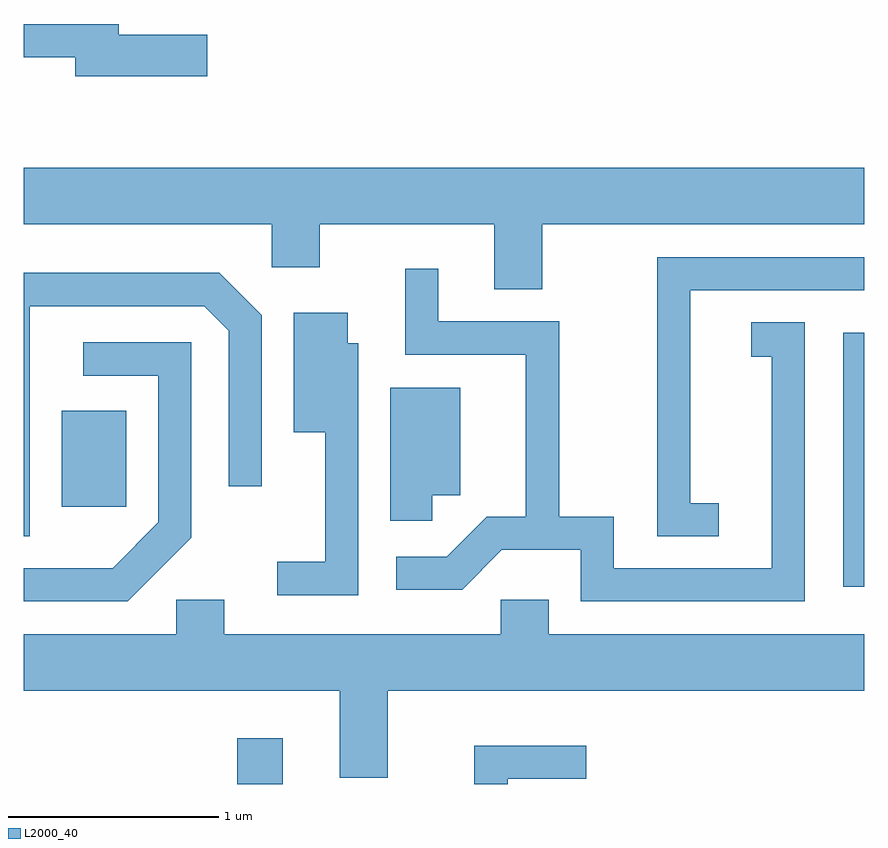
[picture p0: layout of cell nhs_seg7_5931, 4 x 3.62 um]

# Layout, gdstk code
import gdstk
lib = gdstk.Library(unit=1e-6, precision=1e-09)
def R(c, l, rs):  # rectangles x0, y0, x1, y1
    for r in rs: c.add(gdstk.rectangle(r[:2], r[2:], *l))
def P(c, l, *ps):  # polygons
    for p in ps: c.add(gdstk.Polygon(p, *l))
L2000_40 = (2000, 40)

nhs_seg7_5931 = lib.new_cell('nhs_seg7_5931')
R(nhs_seg7_5931, L2000_40, [(366.626,1778.252,366.844,1778.469), (369.511,1779.191,369.611,1780.399), (365.791,1779.571,366.099,1780.029)])
P(nhs_seg7_5931, L2000_40, [(366.484,1781.819),(366.064,1781.819),(366.064,1781.869),(365.611,1781.869),(365.611,1781.711),(365.856,1781.711),(365.856,1781.621),(366.484,1781.621)],
  [(365.611,1780.916),(366.791,1780.916),(366.791,1780.711),(367.019,1780.711),(367.019,1780.916),(367.851,1780.916),(367.851,1780.606),(368.079,1780.606),(368.079,1780.916),(369.611,1780.916),(369.611,1781.184),(365.611,1781.184)],
  [(368.918,1779.589),(368.784,1779.589),(368.784,1780.601),(369.611,1780.601),(369.611,1780.759),(368.626,1780.759),(368.626,1779.431),(368.918,1779.431)],
  [(369.329,1780.449),(369.073,1780.449),(369.073,1780.286),(369.171,1780.286),(369.171,1779.279),(368.419,1779.279),(368.419,1779.524),(368.159,1779.524),(368.159,1780.454),(367.584,1780.454),(367.584,1780.703),(367.426,1780.703),(367.426,1780.296),(368.001,1780.296),(368.001,1779.524),(367.814,1779.524),(367.624,1779.334),(367.383,1779.334),(367.383,1779.176),(367.697,1779.176),(367.887,1779.366),(368.261,1779.366),(368.261,1779.121),(369.329,1779.121)],
  [(365.639,1780.526),(366.469,1780.526),(366.586,1780.409),(366.586,1779.668),(366.744,1779.668),(366.744,1780.482),(366.542,1780.684),(365.611,1780.684),(365.611,1779.431),(365.639,1779.431)],
  [(367.204,1780.349),(367.154,1780.349),(367.154,1780.494),(366.896,1780.494),(366.896,1779.926),(367.046,1779.926),(367.046,1779.309),(366.818,1779.309),(366.818,1779.151),(367.204,1779.151)],
  [(366.409,1779.424),(366.409,1780.354),(365.893,1780.354),(365.893,1780.196),(366.251,1780.196),(366.251,1779.497),(366.034,1779.279),(365.611,1779.279),(365.611,1779.121),(366.107,1779.121)],
  [(367.554,1779.626),(367.689,1779.626),(367.689,1780.139),(367.356,1780.139),(367.356,1779.506),(367.554,1779.506)],
  [(367.344,1778.696),(369.611,1778.696),(369.611,1778.964),(368.109,1778.964),(368.109,1779.129),(367.881,1779.129),(367.881,1778.964),(366.564,1778.964),(366.564,1779.129),(366.336,1779.129),(366.336,1778.964),(365.611,1778.964),(365.611,1778.696),(367.116,1778.696),(367.116,1778.281),(367.344,1778.281)],
  [(367.914,1778.276),(368.288,1778.276),(368.288,1778.434),(367.756,1778.434),(367.756,1778.252),(367.914,1778.252)])

lib.write_gds('nhs_seg7_5931.gds')
